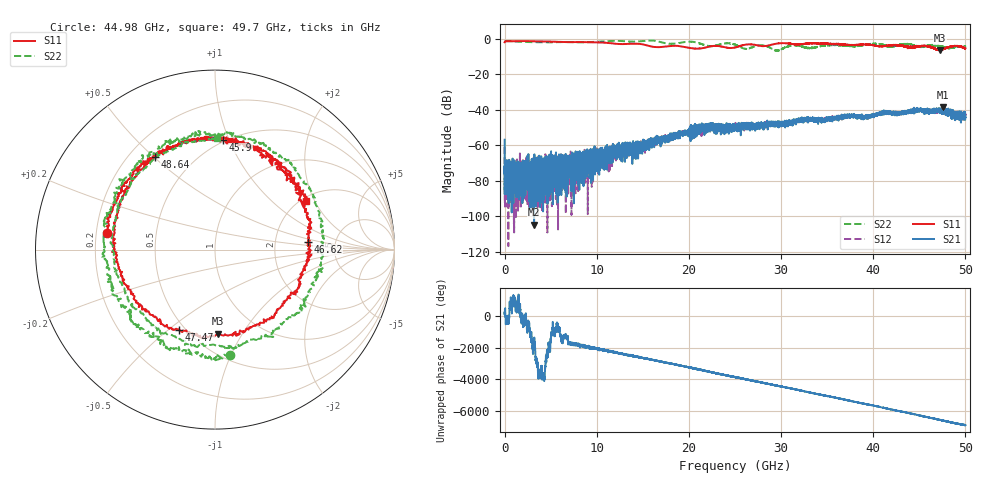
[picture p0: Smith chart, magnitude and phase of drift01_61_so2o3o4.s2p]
!Created with skrf (http://scikit-rf.org).
# Hz S RI R 50.0
!freq ReS11 ImS11 ReS21 ImS21 ReS12 ImS12 ReS22 ImS22
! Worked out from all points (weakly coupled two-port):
!   10001 points, 300 kHz to 50 GHz, reference 50 ohm
!   highest |S21| = -38.50 dB at 47.57 GHz (marker M1); lowest = -104.7 dB at 3.2 GHz (marker M2)
!   lowest |S11| = -6.6 dB at 47.28 GHz (marker M3), VSWR 2.77, Z = 32.9 - j39.6 ohm
!   |S11| at or under -10 dB: nowhere
!   |S22| runs from -6.8 to -1.0 dB; largest |S21 - S12| = 0.0039
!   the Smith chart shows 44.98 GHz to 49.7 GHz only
!   S11 on the Smith chart (normalised r, x): 44.98 GHz: 0.24, +0.07; 45.9 GHz: 0.49, +0.95; 46.62 GHz: 3.11, +0.36; 47.47 GHz: 0.47, -0.54; 48.64 GHz: 0.30, +0.51; 49.7 GHz: 2.13, +1.72
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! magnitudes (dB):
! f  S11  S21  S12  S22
! 300 kHz  -2.1  -56.9  -61.0  -1.3
! 255.3 MHz  -1.4  -80.2  -77.7  -1.4
! 3.2 GHz  -1.5  -104.7  -73.5  -2.0
! 8.335 GHz  -1.9  -65.2  -63.7  -2.1
! 16.67 GHz  -4.8  -55.7  -55.9  -1.6
! 22.26 GHz  -4.4  -49.0  -48.5  -4.2
! 25 GHz  -5.0  -51.0  -51.1  -3.4
! 26.19 GHz  -3.4  -49.7  -49.5  -5.7
! 28.08 GHz  -4.2  -47.8  -47.8  -3.9
! 29.56 GHz  -2.8  -47.2  -47.6  -6.7
! 31.3 GHz  -3.1  -47.1  -46.7  -3.9
! 33.34 GHz  -2.5  -45.8  -45.2  -5.1
! 41.67 GHz  -3.8  -41.3  -41.6  -4.5
! 44.98 GHz  -4.3  -39.3  -39.8  -4.5
! 45.9 GHz  -4.3  -40.9  -40.7  -4.1
! 46.62 GHz  -5.7  -41.3  -40.7  -3.8
! 47.28 GHz  -6.6  -41.5  -40.9  -4.2
! 47.47 GHz  -6.2  -40.3  -40.7  -4.5
! 47.57 GHz  -5.8  -38.5  -41.3  -4.6
! 48.64 GHz  -4.2  -42.2  -42.5  -5.1
! 49.7 GHz  -4.8  -44.7  -42.7  -4.1
! 50 GHz  -5.5  -44.7  -43.5  -4.2
